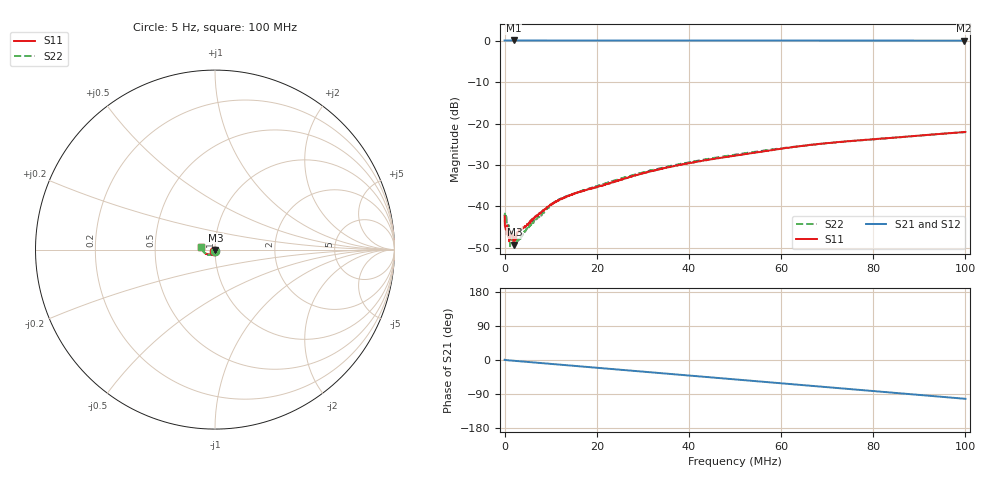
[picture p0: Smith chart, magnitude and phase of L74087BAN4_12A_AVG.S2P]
!Agilent Technologies,E5061B,MY49102235,A.02.00
!Date: Tue Jul 11 16:20:01 2023
!Data & Calibration Information:
!Freq	S11:SOLT2(ON)	S21:SOLT2(ON)	S12:SOLT2(ON)	S22:SOLT2(ON)
# Hz S RI R 50
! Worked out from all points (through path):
!   1600 points, 5 Hz to 100 MHz, reference 50 ohm
!   highest |S21| = 0.02 dB at 2.001 MHz (marker M1); lowest = 0.0 dB at 99.75 MHz (marker M2)
!   group delay of S21, straight-line fit = 2.85 ns
!   lowest |S11| = -49.2 dB at 2.126 MHz (marker M3), VSWR 1.01, Z = 50.3 - j0.224 ohm
!   |S11| at or under -10 dB: start of sweep to end of sweep
!   |S22| runs from -49.6 to -22.1 dB; largest |S21 - S12| = 0.0025
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5  -0.00522 -0.00561  1.002 0.00803  1 0.0102  -0.00159 -0.00755
437778.6  0.00515 -0.000426  1.001 -0.00545  1.001 -0.00622  0.00662 -0.00208
625395.8  0.0051 -0.000413  1.002 -0.0107  1.002 -0.0104  0.0061 -0.000781
1000630  0.00378 -0.000422  1.001 -0.0167  1.001 -0.0163  0.00514 -0.00133
1500943  0.00437 -0.00198  1.001 -0.0253  1.002 -0.0253  0.00302 -0.00313
2001256  0.00306 -0.00212  1.002 -0.0356  1.001 -0.0354  0.0032 -0.00183
2126334  0.00268 -0.00223  1.001 -0.0379  1 -0.0375  0.00385 -0.00164
2439029  0.00379 -0.00218  0.9996 -0.0438  0.9995 -0.0434  0.00363 -0.00171
2751725  0.00422 -0.00239  0.9997 -0.0485  0.9996 -0.0485  0.00322 -0.00213
3252037  0.00431 -0.00305  0.9993 -0.0578  0.9992 -0.0578  0.00321 -0.00253
6003757  0.00355 -0.00578  0.9952 -0.1068  0.9953 -0.1067  0.00308 -0.00557
9631024  0.00198 -0.00988  0.9864 -0.1712  0.9862 -0.1711  0.0013 -0.00988
1.156974e7  0.000796 -0.0119  0.9799 -0.2052  0.9796 -0.205  -0.000164 -0.012
1.669794e7  -0.00219 -0.0151  0.9564 -0.294  0.9563 -0.2938  -0.00265 -0.0152
2.582865e7  -0.00721 -0.0202  0.8962 -0.4455  0.896 -0.4454  -0.00525 -0.0216
3.333334e7  -0.0135 -0.0244  0.8282 -0.5612  0.8281 -0.561  -0.0124 -0.0256
5.003127e7  -0.03 -0.0279  0.6263 -0.7798  0.6262 -0.7796  -0.0305 -0.0289
6.672921e7  -0.0508 -0.0229  0.3688 -0.9287  0.369 -0.9288  -0.0502 -0.0232
7.53596e7  -0.0598 -0.0157  0.2217 -0.9738  0.2218 -0.9738  -0.0593 -0.0164
8.33646e7  -0.0665 -0.00648  0.0807 -0.9953  0.0806 -0.9954  -0.0662 -0.00806
9.974984e7  -0.0773 0.0163  -0.2101 -0.9749  -0.21 -0.9751  -0.0771 0.014
1e8  -0.0774 0.0166  -0.2144 -0.9741  -0.2144 -0.9742  -0.0774 0.0146
